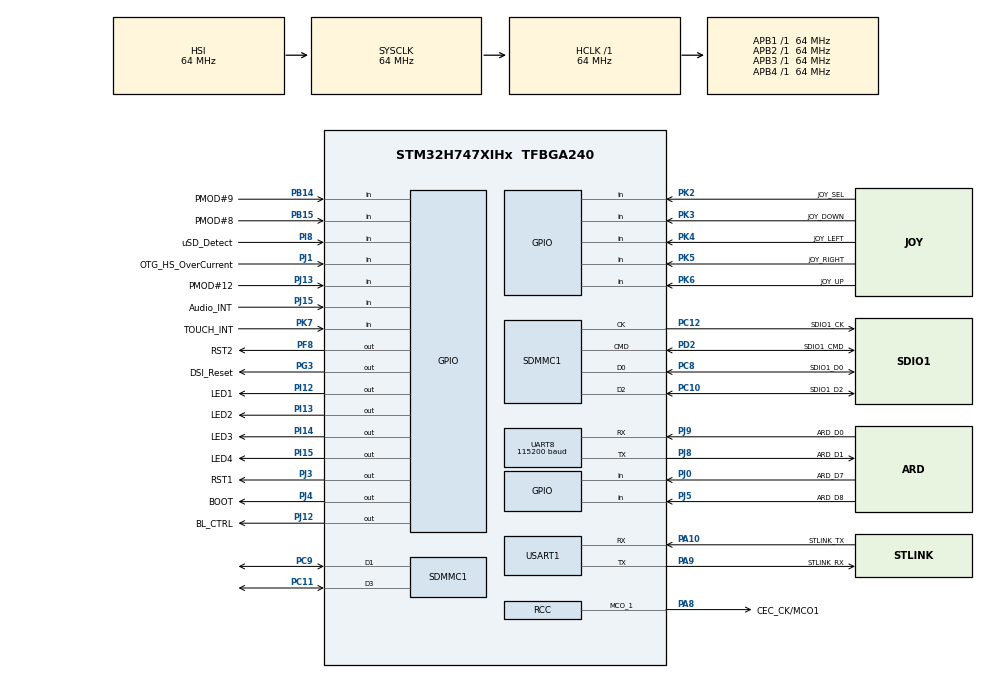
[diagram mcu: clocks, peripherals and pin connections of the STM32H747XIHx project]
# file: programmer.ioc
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CortexM4.IPs=BDMA,DMA,FATFS_M4\:I,FREERTOS_M4\:I,IWDG2\:I,MDMA,NVIC2\:I,RCC,USB_DEVICE_M4\:I,USB_HOST_M4\:I,WWDG2\:I,DEBUG,PDM2PCM_M4\:I,PWR,RESMGR_UTILITY,SYS_M4\:I,CORTEX_M4\:I,OPENAMP_M4\:I,VREFBUF,GPIO
CortexM7.IPs=BDMA\:I,DMA\:I,FATFS_M7\:I,FREERTOS_M7\:I,IWDG1\:I,MDMA\:I,NVIC1\:I,RCC\:I,USB_DEVICE_M7\:I,USB_HOST_M7\:I,WWDG1\:I,USART1\:I,CORTEX_M7\:I,DEBUG\:I,PDM2PCM_M7\:I,PWR\:I,RESMGR_UTILITY\:I,SYS\:I,OPENAMP_M7\:I,VREFBUF\:I,GPIO\:I,UART8\:I,SDMMC1\:I
CortexM7.Pins=PI12,PI13,PI14,PF8,PI15,PJ3,PJ4
DSI_CKN.Signal=DSIHOST_CKN
DSI_CKP.Signal=DSIHOST_CKP
DSI_D0N.Signal=DSIHOST_D0N
DSI_D0P.Signal=DSIHOST_D0P
DSI_D1N.Signal=DSIHOST_D1N
DSI_D1P.Signal=DSIHOST_D1P
FATFS.BSP.number=1
FATFS0.BSP.STBoard=false
FATFS0.BSP.api=Unknown
FATFS0.BSP.instance=PI8
FATFS0.BSP.ip=GPIO
FATFS0.BSP.mode=Input
FATFS0.BSP.name=Detect_SDIO
FATFS0.BSP.solution=PI8
FATFS_M7.USE_DMA_CODE_SD=1
FATFS_M7._USE_LFN=1
Mcu.Family=STM32H7
Mcu.Name=STM32H747XIHx
Mcu.Package=TFBGA240
NVIC1.PriorityGroup=NVIC_PRIORITYGROUP_4
NVIC1.SDMMC1_IRQn=true\:0\:0\:false\:false\:true\:true\:true\:true
NVIC2.PriorityGroup=NVIC_PRIORITYGROUP_4
PA0_C.GPIO_Label=ARD_A2
PA0_C.PinAttribute=CortexM4
PA0_C.Signal=ADCx_INP0
PA1.GPIO_Label=ETH_REF_CLK
PA1.PinAttribute=CortexM4
PA1.Signal=ETH_REF_CLK
PA10.GPIO_Label=STLINK_TX
PA10.Mode=Asynchronous
PA10.PinAttribute=CortexM7
PA10.Signal=USART1_RX
PA11.GPIO_Label=PMOD\#1
PA11.PinAttribute=CortexM4
PA11.Signal=SPI2_NSS
PA12.GPIO_Label=SPI2_SCK
PA12.PinAttribute=CortexM4
PA12.Signal=SPI2_SCK
PA1_C.GPIO_Label=ARD_A3
PA1_C.PinAttribute=CortexM4
PA1_C.Signal=ADCx_INP1
PA2.GPIO_Label=ETH_MDIO
PA2.PinAttribute=CortexM4
PA2.Signal=ETH_MDIO
PA3.GPIO_Label=ULPI_D0
PA3.PinAttribute=CortexM4
PA3.Signal=USB_OTG_HS_ULPI_D0
PA5.GPIO_Label=ULPI_CK
PA5.PinAttribute=CortexM4
PA5.Signal=USB_OTG_HS_ULPI_CK
PA7.GPIO_Label=ETH_CRS_DV
PA7.PinAttribute=CortexM4
PA7.Signal=ETH_CRS_DV
PA8.GPIO_Label=CEC_CK/MCO1
PA8.Mode=Clock-out-1
PA8.PinAttribute=CortexM7
PA8.Signal=RCC_MCO_1
PA9.GPIO_Label=STLINK_RX
PA9.Mode=Asynchronous
PA9.PinAttribute=CortexM7
PA9.Signal=USART1_TX
PB0.GPIO_Label=ULPI_D1
PB0.PinAttribute=CortexM4
PB0.Signal=USB_OTG_HS_ULPI_D1
PB1.GPIO_Label=ULPI_D2
PB1.PinAttribute=CortexM4
PB1.Signal=USB_OTG_HS_ULPI_D2
PB10.GPIO_Label=ULPI_D3
PB10.PinAttribute=CortexM4
PB10.Signal=USB_OTG_HS_ULPI_D3
PB11.GPIO_Label=ULPI_D4
PB11.PinAttribute=CortexM4
PB11.Signal=USB_OTG_HS_ULPI_D4
PB12.GPIO_Label=ULPI_D5
PB12.PinAttribute=CortexM4
PB12.Signal=USB_OTG_HS_ULPI_D5
PB13.GPIO_Label=ULPI_D6
PB13.PinAttribute=CortexM4
PB13.Signal=USB_OTG_HS_ULPI_D6
PB14.GPIO_Label=PMOD\#9
PB14.PinAttribute=Free
PB14.Signal=GPIO_Input
PB15.GPIO_Label=PMOD\#8
PB15.PinAttribute=Free
PB15.Signal=GPIO_Input
PB2.GPIO_Label=QSPI_CLK
PB2.PinAttribute=CortexM4
PB2.Signal=QUADSPI_CLK
PB5.GPIO_Label=ULPI_D7
PB5.PinAttribute=CortexM4
PB5.Signal=USB_OTG_HS_ULPI_D7
PB6.GPIO_Label=HDMI_CEC
PB6.PinAttribute=CortexM4
PB6.Signal=CEC
PC0.GPIO_Label=ULPI_STP
PC0.PinAttribute=CortexM4
PC0.Signal=USB_OTG_HS_ULPI_STP
PC1.GPIO_Label=ETH_MDC/SAI4_D1
PC1.PinAttribute=CortexM4
PC1.Signal=ETH_MDC
PC10.GPIO_Label=SDIO1_D2
PC10.Mode=SD_4_bits_Wide_bus
PC10.PinAttribute=CortexM7
PC10.Signal=SDMMC1_D2
PC11.Mode=SD_4_bits_Wide_bus
PC11.PinAttribute=CortexM7
PC11.Signal=SDMMC1_D3
PC12.GPIO_Label=SDIO1_CK
PC12.Mode=SD_4_bits_Wide_bus
PC12.PinAttribute=CortexM7
PC12.Signal=SDMMC1_CK
PC13.GPIO_Label=B2 [Wakeup Button]
PC13.PinAttribute=CortexM4
PC13.Signal=RTC_TAMP1
PC14-OSC32_IN\ (OSC32_IN).GPIO_Label=OSC32_IN
PC14-OSC32_IN\ (OSC32_IN).Mode=LSE-External-Oscillator
PC14-OSC32_IN\ (OSC32_IN).PinAttribute=CortexM7
PC14-OSC32_IN\ (OSC32_IN).Signal=RCC_OSC32_IN
PC15-OSC32_OUT\ (OSC32_OUT).GPIO_Label=OSC32_OUT
PC15-OSC32_OUT\ (OSC32_OUT).Mode=LSE-External-Oscillator
PC15-OSC32_OUT\ (OSC32_OUT).PinAttribute=CortexM7
PC15-OSC32_OUT\ (OSC32_OUT).Signal=RCC_OSC32_OUT
PC2.GPIO_Label=PMOD\#3
PC2.PinAttribute=CortexM4
PC2.Signal=SPI2_MISO
PC2_C.GPIO_Label=ARD_A4
PC2_C.PinAttribute=CortexM4
PC2_C.Signal=ADC3_INP0
PC3.GPIO_Label=PMOD\#2
PC3.PinAttribute=CortexM4
PC3.Signal=SPI2_MOSI
PC3_C.GPIO_Label=ARD_A5
PC3_C.PinAttribute=CortexM4
PC3_C.Signal=ADC3_INP1
PC4.GPIO_Label=ETH_RXD0
PC4.PinAttribute=CortexM4
PC4.Signal=ETH_RXD0
PC5.GPIO_Label=ETH_RXD1
PC5.PinAttribute=CortexM4
PC5.Signal=ETH_RXD1
PC8.GPIO_Label=SDIO1_D0
PC8.Mode=SD_4_bits_Wide_bus
PC8.PinAttribute=CortexM7
PC8.Signal=SDMMC1_D0
PC9.Mode=SD_4_bits_Wide_bus
PC9.PinAttribute=CortexM7
PC9.Signal=SDMMC1_D1
PD0.GPIO_Label=FMC_D2
PD0.PinAttribute=CortexM4
PD0.Signal=FMC_D2_DA2
PD1.GPIO_Label=FMC_D3
PD1.PinAttribute=CortexM4
PD1.Signal=FMC_D3_DA3
PD10.GPIO_Label=FMC_D15
PD10.PinAttribute=CortexM4
PD10.Signal=FMC_D15_DA15
PD11.GPIO_Label=QSPI_BK1_IO0
PD11.PinAttribute=CortexM4
PD11.Signal=QUADSPI_BK1_IO0
PD12.Signal=I2C4_SCL
PD13.Signal=I2C4_SDA
PD14.GPIO_Label=FMC_D0
PD14.PinAttribute=CortexM4
PD14.Signal=FMC_D0_DA0
PD15.GPIO_Label=FMC_D1
PD15.PinAttribute=CortexM4
PD15.Signal=FMC_D1_DA1
PD2.GPIO_Label=SDIO1_CMD
PD2.Mode=SD_4_bits_Wide_bus
PD2.PinAttribute=CortexM7
PD2.Signal=SDMMC1_CMD
PD7.GPIO_Label=SPDIF_RX0
PD7.PinAttribute=CortexM4
PD7.Signal=SPDIFRX1_IN0
PD8.GPIO_Label=FMC_D13
PD8.PinAttribute=CortexM4
PD8.Signal=FMC_D13_DA13
PD9.GPIO_Label=FMC_D14
PD9.PinAttribute=CortexM4
PD9.Signal=FMC_D14_DA14
PE0.GPIO_Label=FMC_NBL0
PE0.PinAttribute=CortexM4
PE0.Signal=FMC_NBL0
PE1.GPIO_Label=FMC_NBL1
PE1.PinAttribute=CortexM4
PE1.Signal=FMC_NBL1
PE10.GPIO_Label=FMC_D7
PE10.PinAttribute=CortexM4
PE10.Signal=FMC_D7_DA7
PE11.GPIO_Label=FMC_D8
PE11.PinAttribute=CortexM4
PE11.Signal=FMC_D8_DA8
PE12.GPIO_Label=FMC_D9
PE12.PinAttribute=CortexM4
PE12.Signal=FMC_D9_DA9
PE13.GPIO_Label=FMC_D10
PE13.PinAttribute=CortexM4
PE13.Signal=FMC_D10_DA10
PE14.GPIO_Label=FMC_D11
PE14.PinAttribute=CortexM4
PE14.Signal=FMC_D11_DA11
PE15.GPIO_Label=FMC_D12
PE15.PinAttribute=CortexM4
PE15.Signal=FMC_D12_DA12
PE3.GPIO_Label=SAI1_SD_B
PE3.PinAttribute=CortexM4
PE3.Signal=SAI1_SD_B
PE4.GPIO_Label=SAI1_FS_A
PE4.PinAttribute=CortexM4
PE4.Signal=SAI1_FS_A
PE5.GPIO_Label=SAI1_SCK_A
PE5.PinAttribute=CortexM4
PE5.Signal=SAI1_SCK_A
PE6.GPIO_Label=SAI1_SD_A
PE6.PinAttribute=CortexM4
PE6.Signal=SAI1_SD_A
PE7.GPIO_Label=FMC_D4
PE7.PinAttribute=CortexM4
PE7.Signal=FMC_D4_DA4
PE8.GPIO_Label=FMC_D5
PE8.PinAttribute=CortexM4
PE8.Signal=FMC_D5_DA5
PE9.GPIO_Label=FMC_D6
PE9.PinAttribute=CortexM4
PE9.Signal=FMC_D6_DA6
PF0.GPIO_Label=FMC_A0
PF0.PinAttribute=CortexM4
PF0.Signal=FMC_A0
PF1.GPIO_Label=FMC_A1
PF1.PinAttribute=CortexM4
PF1.Signal=FMC_A1
PF10.GPIO_Label=ARD_A1
PF10.PinAttribute=CortexM4
PF10.Signal=ADC3_INP6
PF11.GPIO_Label=FMC_SDRAS
PF11.PinAttribute=CortexM4
PF11.Signal=FMC_SDNRAS
PF12.GPIO_Label=FMC_A6
PF12.PinAttribute=CortexM4
PF12.Signal=FMC_A6
PF13.GPIO_Label=FMC_A7
PF13.PinAttribute=CortexM4
PF13.Signal=FMC_A7
PF14.GPIO_Label=FMC_A8
PF14.PinAttribute=CortexM4
PF14.Signal=FMC_A8
PF15.GPIO_Label=FMC_A9
PF15.PinAttribute=CortexM4
PF15.Signal=FMC_A9
PF2.GPIO_Label=FMC_A2
PF2.PinAttribute=CortexM4
PF2.Signal=FMC_A2
PF3.GPIO_Label=FMC_A3
PF3.PinAttribute=CortexM4
PF3.Signal=FMC_A3
PF4.GPIO_Label=FMC_A4
PF4.PinAttribute=CortexM4
PF4.Signal=FMC_A4
PF5.GPIO_Label=FMC_A5
PF5.PinAttribute=CortexM4
PF5.Signal=FMC_A5
PF6.GPIO_Label=QSPI_BK1_IO3
PF6.PinAttribute=CortexM4
PF6.Signal=QUADSPI_BK1_IO3
PF7.GPIO_Label=QSPI_BK1_IO2
PF7.PinAttribute=CortexM4
PF7.Signal=QUADSPI_BK1_IO2
PF8.GPIO_Label=RST2
PF8.PinAttribute=CortexM7
PF8.Signal=GPIO_Output
PF9.GPIO_Label=QSPI_BK1_IO1
PF9.PinAttribute=CortexM4
PF9.Signal=QUADSPI_BK1_IO1
PG0.GPIO_Label=FMC_A10
PG0.PinAttribute=CortexM4
PG0.Signal=FMC_A10
PG1.GPIO_Label=FMC_A11
PG1.PinAttribute=CortexM4
PG1.Signal=FMC_A11
PG11.GPIO_Label=ETH_TX_EN
PG11.PinAttribute=CortexM4
PG11.Signal=ETH_TX_EN
PG12.GPIO_Label=ETH_TXD1
PG12.PinAttribute=CortexM4
PG12.Signal=ETH_TXD1
PG13.GPIO_Label=ETH_TXD0
PG13.PinAttribute=CortexM4
PG13.Signal=ETH_TXD0
PG14.GPIO_Label=QSPI_BK2_IO3
PG14.PinAttribute=CortexM4
PG14.Signal=QUADSPI_BK2_IO3
PG15.GPIO_Label=FMC_SDCAS
PG15.PinAttribute=CortexM4
PG15.Signal=FMC_SDNCAS
PG2.GPIO_Label=FMC_A12
PG2.PinAttribute=CortexM4
PG2.Signal=FMC_A12
PG3.GPIO_Label=DSI_Reset
PG3.PinAttribute=Free
PG3.Signal=GPIO_Output
PG4.GPIO_Label=FMC_BA0
PG4.PinAttribute=CortexM4
PG4.Signal=FMC_A14_BA0
PG6.GPIO_Label=QSPI_BK1_NCS
PG6.PinAttribute=CortexM4
PG6.Signal=QUADSPI_BK1_NCS
PG7.GPIO_Label=SAI1_MCLK_A
PG7.PinAttribute=CortexM4
PG7.Signal=SAI1_MCLK_A
PG8.GPIO_Label=FMC_SDCLK
PG8.PinAttribute=CortexM4
PG8.Signal=FMC_SDCLK
PG9.GPIO_Label=QSPI_BK2_IO2
PG9.PinAttribute=CortexM4
PG9.Signal=QUADSPI_BK2_IO2
PH0-OSC_IN\ (PH0).GPIO_Label=OSC_IN
PH0-OSC_IN\ (PH0).Mode=HSE-External-Oscillator
PH0-OSC_IN\ (PH0).PinAttribute=CortexM7
PH0-OSC_IN\ (PH0).Signal=RCC_OSC_IN
PH1-OSC_OUT\ (PH1).GPIO_Label=OSC_OUT
PH1-OSC_OUT\ (PH1).Mode=HSE-External-Oscillator
PH1-OSC_OUT\ (PH1).PinAttribute=CortexM7
PH1-OSC_OUT\ (PH1).Signal=RCC_OSC_OUT
PH10.GPIO_Label=FMC_D18
PH10.PinAttribute=CortexM4
PH10.Signal=FMC_D18
PH11.GPIO_Label=FMC_D19
PH11.PinAttribute=CortexM4
PH11.Signal=FMC_D19
PH12.GPIO_Label=FMC_D20
PH12.PinAttribute=CortexM4
PH12.Signal=FMC_D20
PH13.GPIO_Label=FMC_D21
PH13.PinAttribute=CortexM4
PH13.Signal=FMC_D21
PH14.GPIO_Label=FMC_D22
PH14.PinAttribute=CortexM4
PH14.Signal=FMC_D22
PH15.GPIO_Label=FMC_D23
PH15.PinAttribute=CortexM4
PH15.Signal=FMC_D23
PH2.GPIO_Label=QSPI_BK2_IO0
PH2.PinAttribute=CortexM4
PH2.Signal=QUADSPI_BK2_IO0
PH3.GPIO_Label=QSPI_BK2_IO1
PH3.PinAttribute=CortexM4
PH3.Signal=QUADSPI_BK2_IO1
PH4.GPIO_Label=ULPI_NXT
PH4.PinAttribute=CortexM4
PH4.Signal=USB_OTG_HS_ULPI_NXT
PH5.GPIO_Label=FMC_SDNWE
PH5.PinAttribute=CortexM4
PH5.Signal=FMC_SDNWE
PH6.GPIO_Label=FMC_SDNE1
PH6.PinAttribute=CortexM4
PH6.Signal=FMC_SDNE1
PH7.GPIO_Label=FMC_SDCKE1
PH7.PinAttribute=CortexM4
PH7.Signal=FMC_SDCKE1
PH8.GPIO_Label=FMC_D16
PH8.PinAttribute=CortexM4
PH8.Signal=FMC_D16
PH9.GPIO_Label=FMC_D17
PH9.PinAttribute=CortexM4
PH9.Signal=FMC_D17
PI0.GPIO_Label=FMC_D24
PI0.PinAttribute=CortexM4
PI0.Signal=FMC_D24
PI1.GPIO_Label=FMC_D25
PI1.PinAttribute=CortexM4
PI1.Signal=FMC_D25
PI10.GPIO_Label=FMC_D31
PI10.PinAttribute=CortexM4
PI10.Signal=FMC_D31
PI11.GPIO_Label=ULPI_DIR
PI11.PinAttribute=CortexM4
PI11.Signal=USB_OTG_HS_ULPI_DIR
PI12.GPIO_Label=LED1
PI12.PinAttribute=CortexM7
PI12.Signal=GPIO_Output
PI13.GPIO_Label=LED2
PI13.PinAttribute=CortexM7
PI13.Signal=GPIO_Output
PI14.GPIO_Label=LED3
PI14.PinAttribute=CortexM7
PI14.Signal=GPIO_Output
PI15.GPIO_Label=LED4
PI15.PinAttribute=CortexM7
PI15.Signal=GPIO_Output
PI2.GPIO_Label=FMC_D26
PI2.PinAttribute=CortexM4
PI2.Signal=FMC_D26
PI3.GPIO_Label=FMC_D27
PI3.PinAttribute=CortexM4
PI3.Signal=FMC_D27
PI4.GPIO_Label=FMC_NBL2
PI4.PinAttribute=CortexM4
PI4.Signal=FMC_NBL2
PI5.GPIO_Label=FMC_NBL3
PI5.PinAttribute=CortexM4
PI5.Signal=FMC_NBL3
PI6.GPIO_Label=FMC_D28
PI6.PinAttribute=CortexM4
PI6.Signal=FMC_D28
PI7.GPIO_Label=FMC_D29
PI7.PinAttribute=CortexM4
PI7.Signal=FMC_D29
PI8.GPIO_Label=uSD_Detect
PI8.PinAttribute=Free
PI8.Signal=GPIO_Input
PI9.GPIO_Label=FMC_D30
PI9.PinAttribute=CortexM4
PI9.Signal=FMC_D30
PJ0.GPIO_Label=ARD_D7
PJ0.PinAttribute=Free
PJ0.Signal=GPIO_Input
PJ1.GPIO_Label=OTG_HS_OverCurrent
PJ1.PinAttribute=Free
PJ1.Signal=GPIO_Input
PJ10.GPIO_Label=ARD_D11
PJ10.PinAttribute=CortexM4
PJ10.Signal=SPI5_MOSI
PJ11.GPIO_Label=ARD_D12
PJ11.PinAttribute=CortexM4
PJ11.Signal=SPI5_MISO
PJ12.GPIO_Label=BL_CTRL
PJ12.PinAttribute=Free
PJ12.Signal=GPIO_Output
PJ13.GPIO_Label=PMOD\#12
PJ13.PinAttribute=Free
PJ13.Signal=GPIO_Input
PJ15.GPIO_Label=Audio_INT
PJ15.PinAttribute=Free
PJ15.Signal=GPIO_Input
PJ2.GPIO_Label=DSI_TE
PJ2.Signal=DSIHOST_TE
PJ3.GPIO_Label=RST1
PJ3.PinAttribute=CortexM7
PJ3.Signal=GPIO_Output
PJ4.GPIO_Label=BOOT
PJ4.PinAttribute=CortexM7
PJ4.Signal=GPIO_Output
PJ5.GPIO_Label=ARD_D8
PJ5.PinAttribute=Free
PJ5.Signal=GPIO_Input
PJ6.GPIO_Label=ARD_D9
PJ6.PinAttribute=CortexM4
PJ6.Signal=S_TIM8_CH2
PJ7.GPIO_Label=ARD_D6
PJ7.PinAttribute=CortexM4
PJ7.Signal=TIM8_CH2N
PJ8.GPIO_Label=ARD_D1
PJ8.Mode=Asynchronous
PJ8.PinAttribute=CortexM7
PJ8.Signal=UART8_TX
PJ9.GPIO_Label=ARD_D0
PJ9.Mode=Asynchronous
PJ9.PinAttribute=CortexM7
PJ9.Signal=UART8_RX
PK0.GPIO_Label=ARD_D13
PK0.PinAttribute=CortexM4
PK0.Signal=SPI5_SCK
PK1.GPIO_Label=ARD_D10
PK1.PinAttribute=CortexM4
PK1.Signal=SPI5_NSS
PK2.GPIO_Label=JOY_SEL
PK2.PinAttribute=Free
PK2.Signal=GPIO_Input
PK3.GPIO_Label=JOY_DOWN
PK3.PinAttribute=Free
PK3.Signal=GPIO_Input
PK4.GPIO_Label=JOY_LEFT
PK4.PinAttribute=Free
PK4.Signal=GPIO_Input
PK5.GPIO_Label=JOY_RIGHT
PK5.PinAttribute=Free
PK5.Signal=GPIO_Input
PK6.GPIO_Label=JOY_UP
PK6.PinAttribute=Free
PK6.Signal=GPIO_Input
PK7.GPIO_Label=TOUCH_INT
PK7.PinAttribute=Free
PK7.Signal=GPIO_Input
ProjectManager.HeapSize=M4-0x200,M7-0x400
ProjectManager.StackSize=M4-0x400,M7-0x800
ProjectManager.TargetToolchain=STM32CubeIDE
RCC.ADCFreq_Value=75000000
RCC.APB1Freq_Value=64000000
RCC.APB2Freq_Value=64000000
RCC.APB3Freq_Value=64000000
RCC.APB4Freq_Value=64000000
RCC.CortexFreq_Value=64000000
RCC.DIVM1=5
RCC.DIVM2=2
RCC.DIVN1=48
RCC.DIVN2=12
RCC.DIVQ1=5
RCC.HCLKFreq_Value=64000000
RCC.PLL2FRACN=0
RCC.PLL3FRACN=0
RCC.PLLFRACN=0
RCC.PLLSourceVirtual=RCC_PLLSOURCE_HSE
RCC.PWR_Regulator_Voltage_Scale=PWR_REGULATOR_VOLTAGE_SCALE1
RCC.SYSCLKFreq_VALUE=64000000
RCC.SupplySource=PWR_DIRECT_SMPS_SUPPLY
RCC.USBFreq_Value=48000000
SH.ADCx_INP0.0=ADC1_INP0
SH.ADCx_INP1.0=ADC1_INP1
SH.FMC_A0.0=FMC_A0
SH.FMC_A1.0=FMC_A1
SH.FMC_A10.0=FMC_A10
SH.FMC_A11.0=FMC_A11
SH.FMC_A12.0=FMC_A12
SH.FMC_A14_BA0.0=FMC_BA0
SH.FMC_A2.0=FMC_A2
SH.FMC_A3.0=FMC_A3
SH.FMC_A4.0=FMC_A4
SH.FMC_A5.0=FMC_A5
SH.FMC_A6.0=FMC_A6
SH.FMC_A7.0=FMC_A7
SH.FMC_A8.0=FMC_A8
SH.FMC_A9.0=FMC_A9
SH.FMC_D0_DA0.0=FMC_D0
SH.FMC_D10_DA10.0=FMC_D10
SH.FMC_D11_DA11.0=FMC_D11
SH.FMC_D12_DA12.0=FMC_D12
SH.FMC_D13_DA13.0=FMC_D13
SH.FMC_D14_DA14.0=FMC_D14
SH.FMC_D15_DA15.0=FMC_D15
SH.FMC_D16.0=FMC_D16
SH.FMC_D17.0=FMC_D17
SH.FMC_D18.0=FMC_D18
SH.FMC_D19.0=FMC_D19
SH.FMC_D1_DA1.0=FMC_D1
SH.FMC_D20.0=FMC_D20
SH.FMC_D21.0=FMC_D21
SH.FMC_D22.0=FMC_D22
SH.FMC_D23.0=FMC_D23
SH.FMC_D24.0=FMC_D24
SH.FMC_D25.0=FMC_D25
SH.FMC_D26.0=FMC_D26
SH.FMC_D27.0=FMC_D27
SH.FMC_D28.0=FMC_D28
SH.FMC_D29.0=FMC_D29
SH.FMC_D2_DA2.0=FMC_D2
SH.FMC_D30.0=FMC_D30
SH.FMC_D31.0=FMC_D31
SH.FMC_D3_DA3.0=FMC_D3
SH.FMC_D4_DA4.0=FMC_D4
SH.FMC_D5_DA5.0=FMC_D5
SH.FMC_D6_DA6.0=FMC_D6
SH.FMC_D7_DA7.0=FMC_D7
SH.FMC_D8_DA8.0=FMC_D8
SH.FMC_D9_DA9.0=FMC_D9
SH.FMC_NBL0.0=FMC_NBL0
SH.FMC_NBL1.0=FMC_NBL1
SH.FMC_NBL2.0=FMC_NBL2
SH.FMC_NBL3.0=FMC_NBL3
SH.FMC_SDCLK.0=FMC_SDCLK
SH.FMC_SDNCAS.0=FMC_SDNCAS
SH.FMC_SDNRAS.0=FMC_SDNRAS
SH.FMC_SDNWE.0=FMC_SDNWE
SH.S_TIM8_CH2.0=TIM8_CH2
UART8.BaudRate=115200
UART8.Parity=PARITY_EVEN
UART8.WordLength=WORDLENGTH_9B
USART1.VirtualMode-Asynchronous=VM_ASYNC
VP_FATFS_M7_VS_SDIO.Mode=SDIO
VP_SYS_M4_VS_Systick.Mode=SysTick
board=STM32H747I-DISCO

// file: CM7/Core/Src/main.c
/* USER CODE BEGIN Header */
/**
  ******************************************************************************
  * @file           : main.c
  * @brief          : Main program body
  ******************************************************************************
  * @attention
  *
  * Copyright (c) 2024 STMicroelectronics.
  * All rights reserved.
  *
  * This software is licensed under terms that can be found in the LICENSE file
  * in the root directory of this software component.
  * If no LICENSE file comes with this software, it is provided AS-IS.
  *
  ******************************************************************************
  */
/* USER CODE END Header */
#include "main.h"
#include "fatfs.h"

/* USER CODE BEGIN Includes */
#include <stdio.h>
#include <string.h>
#include "bootloader.h"
/* USER CODE END Includes */

/* USER CODE BEGIN PD */

#ifndef HSEM_ID_0
#define HSEM_ID_0 (0U) /* HW semaphore 0*/
#endif
#define PUTCHAR_PROTOTYPE int __io_putchar(int ch)
/* USER CODE END PD */

SD_HandleTypeDef hsd1;

UART_HandleTypeDef huart8;
UART_HandleTypeDef huart1;

void SystemClock_Config(void);
static void MX_GPIO_Init(void);
static void MX_USART1_UART_Init(void);
static void MX_UART8_Init(void);
static void MX_SDMMC1_SD_Init(void);

int main(void)
{

/* USER CODE BEGIN Boot_Mode_Sequence_0 */
  int32_t timeout;
/* USER CODE END Boot_Mode_Sequence_0 */

/* USER CODE BEGIN Boot_Mode_Sequence_1 */
  /* Wait until CPU2 boots and enters in stop mode or timeout*/
  timeout = 0xFFFF;
  while((__HAL_RCC_GET_FLAG(RCC_FLAG_D2CKRDY) != RESET) && (timeout-- > 0));
  if ( timeout < 0 )
  {
  Error_Handler();
  }
/* USER CODE END Boot_Mode_Sequence_1 */
  /* MCU Configuration--------------------------------------------------------*/

  /* Reset of all peripherals, Initializes the Flash interface and the Systick. */
  HAL_Init();

  /* Configure the system clock */
  SystemClock_Config();
/* USER CODE BEGIN Boot_Mode_Sequence_2 */
/* When system initialization is finished, Cortex-M7 will release Cortex-M4 by means of
HSEM notification */
/*HW semaphore Clock enable*/
__HAL_RCC_HSEM_CLK_ENABLE();
/*Take HSEM */
HAL_HSEM_FastTake(HSEM_ID_0);
/*Release HSEM in order to notify the CPU2(CM4)*/
HAL_HSEM_Release(HSEM_ID_0,0);
/* wait until CPU2 wakes up from stop mode */
timeout = 0xFFFF;
while((__HAL_RCC_GET_FLAG(RCC_FLAG_D2CKRDY) == RESET) && (timeout-- > 0));
if ( timeout < 0 )
{
Error_Handler();
}
/* USER CODE END Boot_Mode_Sequence_2 */

  /* Initialize all configured peripherals */
  MX_GPIO_Init();
  MX_USART1_UART_Init();
  MX_UART8_Init();
  MX_SDMMC1_SD_Init();
  MX_FATFS_Init();
  /* USER CODE BEGIN 2 */

  setvbuf(stdout, NULL, _IOLBF, 0);

  printf("Hello World!\n");

  /*if(BL_Mount_FS() == false){
	  printf("failed mounting!\n");
  }*/

  HAL_GPIO_WritePin(BOOT_GPIO_Port, BOOT_Pin, 0);
  HAL_GPIO_WritePin(RST1_GPIO_Port, RST1_Pin, 1);
  HAL_GPIO_WritePin(RST2_GPIO_Port, RST2_Pin, 1);

  HAL_Delay(100);
  HAL_GPIO_WritePin(RST1_GPIO_Port, RST1_Pin, 0);
  HAL_GPIO_WritePin(RST2_GPIO_Port, RST2_Pin, 0);

  HAL_Delay(10);
  HAL_GPIO_WritePin(BOOT_GPIO_Port, BOOT_Pin, 1);

  HAL_Delay(10);
  HAL_GPIO_WritePin(RST2_GPIO_Port, RST2_Pin, 1);

  HAL_Delay(100);
  //HAL_GPIO_WritePin(RST1_GPIO_Port, RST1_Pin, 1);
  HAL_GPIO_WritePin(BOOT_GPIO_Port, BOOT_Pin, 0);

  if(BL_InitBootloader() != true){
	  printf("bootloader starting failed!\n");
	  while(1);
  }

//  uint8_t buffer[15];
//  uint16_t out_len;
//  BL_GetVersion(buffer);
//
//  BL_Hexdump(buffer, 5);

 // BL_ReadMemoryHexdump(0x08000000, 8);

  if (BL_UploadHexFile("blinky.hex")) {
	  printf("File upload successful.\n");
  } else {
	  printf("File upload failed.\n");
  }

  if(BL_GoToUserApp() == true){
	  printf("code started!\n");
  }

  /* USER CODE END 2 */

  /* Infinite loop */
  /* USER CODE BEGIN WHILE */
  while (1)
  {
	  HAL_GPIO_TogglePin(LED1_GPIO_Port, LED1_Pin);
	  HAL_Delay(500);

    /* USER CODE END WHILE */

  }
}

void SystemClock_Config(void)
{
  RCC_OscInitTypeDef RCC_OscInitStruct = {0};
  RCC_ClkInitTypeDef RCC_ClkInitStruct = {0};

  /** Supply configuration update enable
  */
  HAL_PWREx_ConfigSupply(PWR_DIRECT_SMPS_SUPPLY);

  /** Configure the main internal regulator output voltage
  */
  __HAL_PWR_VOLTAGESCALING_CONFIG(PWR_REGULATOR_VOLTAGE_SCALE1);

  while(!__HAL_PWR_GET_FLAG(PWR_FLAG_VOSRDY)) {}

  /** Initializes the RCC Oscillators according to the specified parameters
  * in the RCC_OscInitTypeDef structure.
  */
  RCC_OscInitStruct.OscillatorType = RCC_OSCILLATORTYPE_HSI|RCC_OSCILLATORTYPE_HSE;
  RCC_OscInitStruct.HSEState = RCC_HSE_ON;
  RCC_OscInitStruct.HSIState = RCC_HSI_DIV1;
  RCC_OscInitStruct.HSICalibrationValue = RCC_HSICALIBRATION_DEFAULT;
  RCC_OscInitStruct.PLL.PLLState = RCC_PLL_ON;
  RCC_OscInitStruct.PLL.PLLSource = RCC_PLLSOURCE_HSE;
  RCC_OscInitStruct.PLL.PLLM = 5;
  RCC_OscInitStruct.PLL.PLLN = 48;
  RCC_OscInitStruct.PLL.PLLP = 2;
  RCC_OscInitStruct.PLL.PLLQ = 5;
  RCC_OscInitStruct.PLL.PLLR = 2;
  RCC_OscInitStruct.PLL.PLLRGE = RCC_PLL1VCIRANGE_2;
  RCC_OscInitStruct.PLL.PLLVCOSEL = RCC_PLL1VCOWIDE;
  RCC_OscInitStruct.PLL.PLLFRACN = 0;
  if (HAL_RCC_OscConfig(&RCC_OscInitStruct) != HAL_OK)
  {
    Error_Handler();
  }

  /** Initializes the CPU, AHB and APB buses clocks
  */
  RCC_ClkInitStruct.ClockType = RCC_CLOCKTYPE_HCLK|RCC_CLOCKTYPE_SYSCLK
                              |RCC_CLOCKTYPE_PCLK1|RCC_CLOCKTYPE_PCLK2
                              |RCC_CLOCKTYPE_D3PCLK1|RCC_CLOCKTYPE_D1PCLK1;
  RCC_ClkInitStruct.SYSCLKSource = RCC_SYSCLKSOURCE_HSI;
  RCC_ClkInitStruct.SYSCLKDivider = RCC_SYSCLK_DIV1;
  RCC_ClkInitStruct.AHBCLKDivider = RCC_HCLK_DIV1;
  RCC_ClkInitStruct.APB3CLKDivider = RCC_APB3_DIV1;
  RCC_ClkInitStruct.APB1CLKDivider = RCC_APB1_DIV1;
  RCC_ClkInitStruct.APB2CLKDivider = RCC_APB2_DIV1;
  RCC_ClkInitStruct.APB4CLKDivider = RCC_APB4_DIV1;

  if (HAL_RCC_ClockConfig(&RCC_ClkInitStruct, FLASH_LATENCY_0) != HAL_OK)
  {
    Error_Handler();
  }
  HAL_RCC_MCOConfig(RCC_MCO1, RCC_MCO1SOURCE_HSI, RCC_MCODIV_1);
}

static void MX_SDMMC1_SD_Init(void)
{

  hsd1.Instance = SDMMC1;
  hsd1.Init.ClockEdge = SDMMC_CLOCK_EDGE_RISING;
  hsd1.Init.ClockPowerSave = SDMMC_CLOCK_POWER_SAVE_DISABLE;
  hsd1.Init.BusWide = SDMMC_BUS_WIDE_4B;
  hsd1.Init.HardwareFlowControl = SDMMC_HARDWARE_FLOW_CONTROL_DISABLE;
  hsd1.Init.ClockDiv = 0;
  if (HAL_SD_Init(&hsd1) != HAL_OK)
  {
    Error_Handler();
  }

}

static void MX_UART8_Init(void)
{

  huart8.Instance = UART8;
  huart8.Init.BaudRate = 115200;
  huart8.Init.WordLength = UART_WORDLENGTH_9B;
  huart8.Init.StopBits = UART_STOPBITS_1;
  huart8.Init.Parity = UART_PARITY_EVEN;
  huart8.Init.Mode = UART_MODE_TX_RX;
  huart8.Init.HwFlowCtl = UART_HWCONTROL_NONE;
  huart8.Init.OverSampling = UART_OVERSAMPLING_16;
  huart8.Init.OneBitSampling = UART_ONE_BIT_SAMPLE_DISABLE;
  huart8.Init.ClockPrescaler = UART_PRESCALER_DIV1;
  huart8.AdvancedInit.AdvFeatureInit = UART_ADVFEATURE_NO_INIT;
  if (HAL_UART_Init(&huart8) != HAL_OK)
  {
    Error_Handler();
  }
  if (HAL_UARTEx_SetTxFifoThreshold(&huart8, UART_TXFIFO_THRESHOLD_1_8) != HAL_OK)
  {
    Error_Handler();
  }
  if (HAL_UARTEx_SetRxFifoThreshold(&huart8, UART_RXFIFO_THRESHOLD_1_8) != HAL_OK)
  {
    Error_Handler();
  }
  if (HAL_UARTEx_DisableFifoMode(&huart8) != HAL_OK)
  {
    Error_Handler();
  }

}

static void MX_USART1_UART_Init(void)
{

  huart1.Instance = USART1;
  huart1.Init.BaudRate = 115200;
  huart1.Init.WordLength = UART_WORDLENGTH_8B;
  huart1.Init.StopBits = UART_STOPBITS_1;
  huart1.Init.Parity = UART_PARITY_NONE;
  huart1.Init.Mode = UART_MODE_TX_RX;
  huart1.Init.HwFlowCtl = UART_HWCONTROL_NONE;
  huart1.Init.OverSampling = UART_OVERSAMPLING_16;
  huart1.Init.OneBitSampling = UART_ONE_BIT_SAMPLE_DISABLE;
  huart1.Init.ClockPrescaler = UART_PRESCALER_DIV1;
  huart1.AdvancedInit.AdvFeatureInit = UART_ADVFEATURE_NO_INIT;
  if (HAL_UART_Init(&huart1) != HAL_OK)
  {
    Error_Handler();
  }
  if (HAL_UARTEx_SetTxFifoThreshold(&huart1, UART_TXFIFO_THRESHOLD_1_8) != HAL_OK)
  {
    Error_Handler();
  }
  if (HAL_UARTEx_SetRxFifoThreshold(&huart1, UART_RXFIFO_THRESHOLD_1_8) != HAL_OK)
  {
    Error_Handler();
  }
  if (HAL_UARTEx_DisableFifoMode(&huart1) != HAL_OK)
  {
    Error_Handler();
  }

}

static void MX_GPIO_Init(void)
{
  GPIO_InitTypeDef GPIO_InitStruct = {0};

  /* GPIO Ports Clock Enable */
  __HAL_RCC_GPIOC_CLK_ENABLE();
  __HAL_RCC_GPIOD_CLK_ENABLE();
  __HAL_RCC_GPIOA_CLK_ENABLE();
  __HAL_RCC_GPIOI_CLK_ENABLE();
  __HAL_RCC_GPIOH_CLK_ENABLE();
  __HAL_RCC_GPIOF_CLK_ENABLE();
  __HAL_RCC_GPIOJ_CLK_ENABLE();

  /*Configure GPIO pin Output Level */
  HAL_GPIO_WritePin(GPIOI, LED1_Pin|LED2_Pin|LED3_Pin|LED4_Pin, GPIO_PIN_RESET);

  /*Configure GPIO pin Output Level */
  HAL_GPIO_WritePin(RST2_GPIO_Port, RST2_Pin, GPIO_PIN_RESET);

  /*Configure GPIO pin Output Level */
  HAL_GPIO_WritePin(GPIOJ, RST1_Pin|BOOT_Pin, GPIO_PIN_RESET);

  /*Configure GPIO pin : uSD_Detect_Pin */
  GPIO_InitStruct.Pin = uSD_Detect_Pin;
  GPIO_InitStruct.Mode = GPIO_MODE_INPUT;
  GPIO_InitStruct.Pull = GPIO_NOPULL;
  HAL_GPIO_Init(uSD_Detect_GPIO_Port, &GPIO_InitStruct);

  /*Configure GPIO pin : CEC_CK_MCO1_Pin */
  GPIO_InitStruct.Pin = CEC_CK_MCO1_Pin;
  GPIO_InitStruct.Mode = GPIO_MODE_AF_PP;
  GPIO_InitStruct.Pull = GPIO_NOPULL;
  GPIO_InitStruct.Speed = GPIO_SPEED_FREQ_LOW;
  GPIO_InitStruct.Alternate = GPIO_AF0_MCO;
  HAL_GPIO_Init(CEC_CK_MCO1_GPIO_Port, &GPIO_InitStruct);

  /*Configure GPIO pins : LED1_Pin LED2_Pin LED3_Pin LED4_Pin */
  GPIO_InitStruct.Pin = LED1_Pin|LED2_Pin|LED3_Pin|LED4_Pin;
  GPIO_InitStruct.Mode = GPIO_MODE_OUTPUT_PP;
  GPIO_InitStruct.Pull = GPIO_NOPULL;
  GPIO_InitStruct.Speed = GPIO_SPEED_FREQ_LOW;
  HAL_GPIO_Init(GPIOI, &GPIO_InitStruct);

  /*Configure GPIO pin : RST2_Pin */
  GPIO_InitStruct.Pin = RST2_Pin;
  GPIO_InitStruct.Mode = GPIO_MODE_OUTPUT_PP;
  GPIO_InitStruct.Pull = GPIO_NOPULL;
  GPIO_InitStruct.Speed = GPIO_SPEED_FREQ_LOW;
  HAL_GPIO_Init(RST2_GPIO_Port, &GPIO_InitStruct);

  /*Configure GPIO pins : RST1_Pin BOOT_Pin */
  GPIO_InitStruct.Pin = RST1_Pin|BOOT_Pin;
  GPIO_InitStruct.Mode = GPIO_MODE_OUTPUT_PP;
  GPIO_InitStruct.Pull = GPIO_NOPULL;
  GPIO_InitStruct.Speed = GPIO_SPEED_FREQ_LOW;
  HAL_GPIO_Init(GPIOJ, &GPIO_InitStruct);

}

/* USER CODE BEGIN 4 */

/**
  * @brief  Retargets the C library printf function to the USART.
  * @param  None
  * @retval None
  */
PUTCHAR_PROTOTYPE
{
  /* Place your implementation of fputc here */
  /* e.g. write a character to the USART1 and Loop until the end of transmission */
  HAL_UART_Transmit(&huart1, (uint8_t *)&ch, 1, 0xFFFF);

  return ch;
}

/* USER CODE END 4 */

void Error_Handler(void)
{
  __disable_irq();
  while (1)
  {
  }
}
